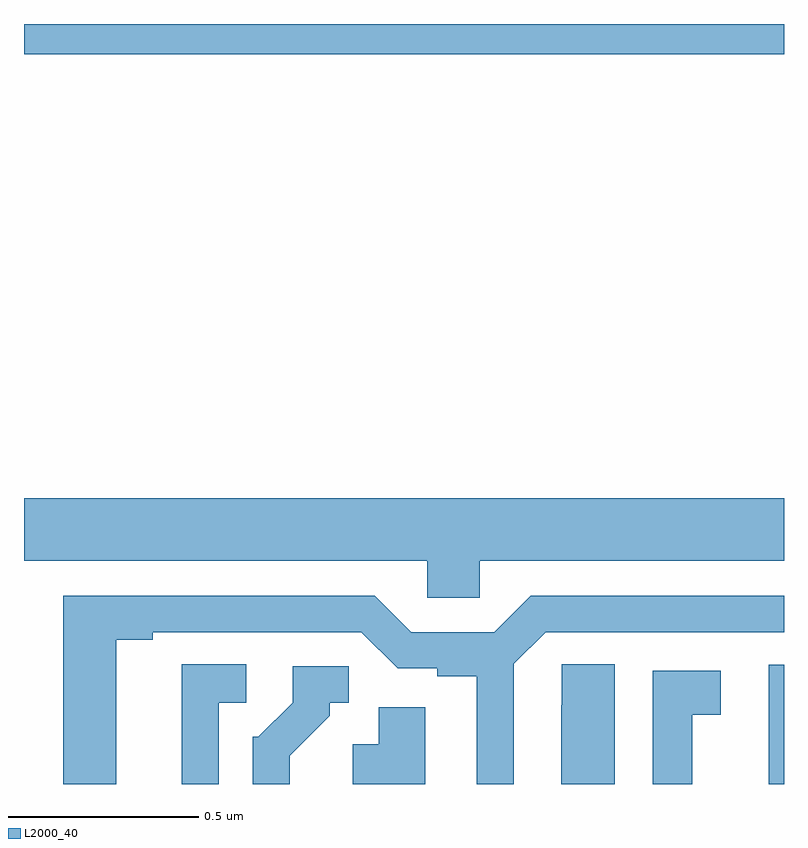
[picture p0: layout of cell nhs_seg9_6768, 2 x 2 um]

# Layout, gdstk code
import gdstk
lib = gdstk.Library(unit=1e-6, precision=1e-09)
def R(c, l, rs):  # rectangles x0, y0, x1, y1
    for r in rs: c.add(gdstk.rectangle(r[:2], r[2:], *l))
def P(c, l, *ps):  # polygons
    for p in ps: c.add(gdstk.Polygon(p, *l))
L2000_40 = (2000, 40)

nhs_seg9_6768 = lib.new_cell('nhs_seg9_6768')
R(nhs_seg9_6768, L2000_40, [(197.96,1194.5,198,1194.814), (196,1196.42,198,1196.5)])
P(nhs_seg9_6768, L2000_40, [(197.199,1195.088),(198,1195.088),(198,1195.252),(196,1195.252),(196,1195.088),(197.061,1195.088),(197.061,1194.99),(197.199,1194.99)],
  [(196.243,1194.88),(196.339,1194.88),(196.339,1194.9),(196.887,1194.9),(196.983,1194.804),(197.088,1194.804),(197.088,1194.784),(197.192,1194.784),(197.192,1194.5),(197.289,1194.5),(197.289,1194.816),(197.373,1194.9),(198,1194.9),(198,1194.996),(197.333,1194.996),(197.237,1194.9),(197.019,1194.9),(196.923,1194.996),(196.103,1194.996),(196.103,1194.5),(196.243,1194.5)],
  [(196.512,1194.714),(196.585,1194.714),(196.585,1194.815),(196.415,1194.815),(196.415,1194.5),(196.512,1194.5)],
  [(197.554,1194.815),(197.415,1194.815),(197.415,1194.707),(197.414,1194.707),(197.414,1194.5),(197.554,1194.5)],
  [(196.699,1194.574),(196.804,1194.679),(196.804,1194.714),(196.854,1194.714),(196.854,1194.81),(196.707,1194.81),(196.707,1194.714),(196.617,1194.624),(196.602,1194.624),(196.602,1194.5),(196.699,1194.5)],
  [(197.758,1194.682),(197.833,1194.682),(197.833,1194.798),(197.654,1194.798),(197.654,1194.5),(197.758,1194.5)],
  [(197.056,1194.702),(196.934,1194.702),(196.934,1194.604),(196.865,1194.604),(196.865,1194.5),(197.056,1194.5)])

lib.write_gds('nhs_seg9_6768.gds')
